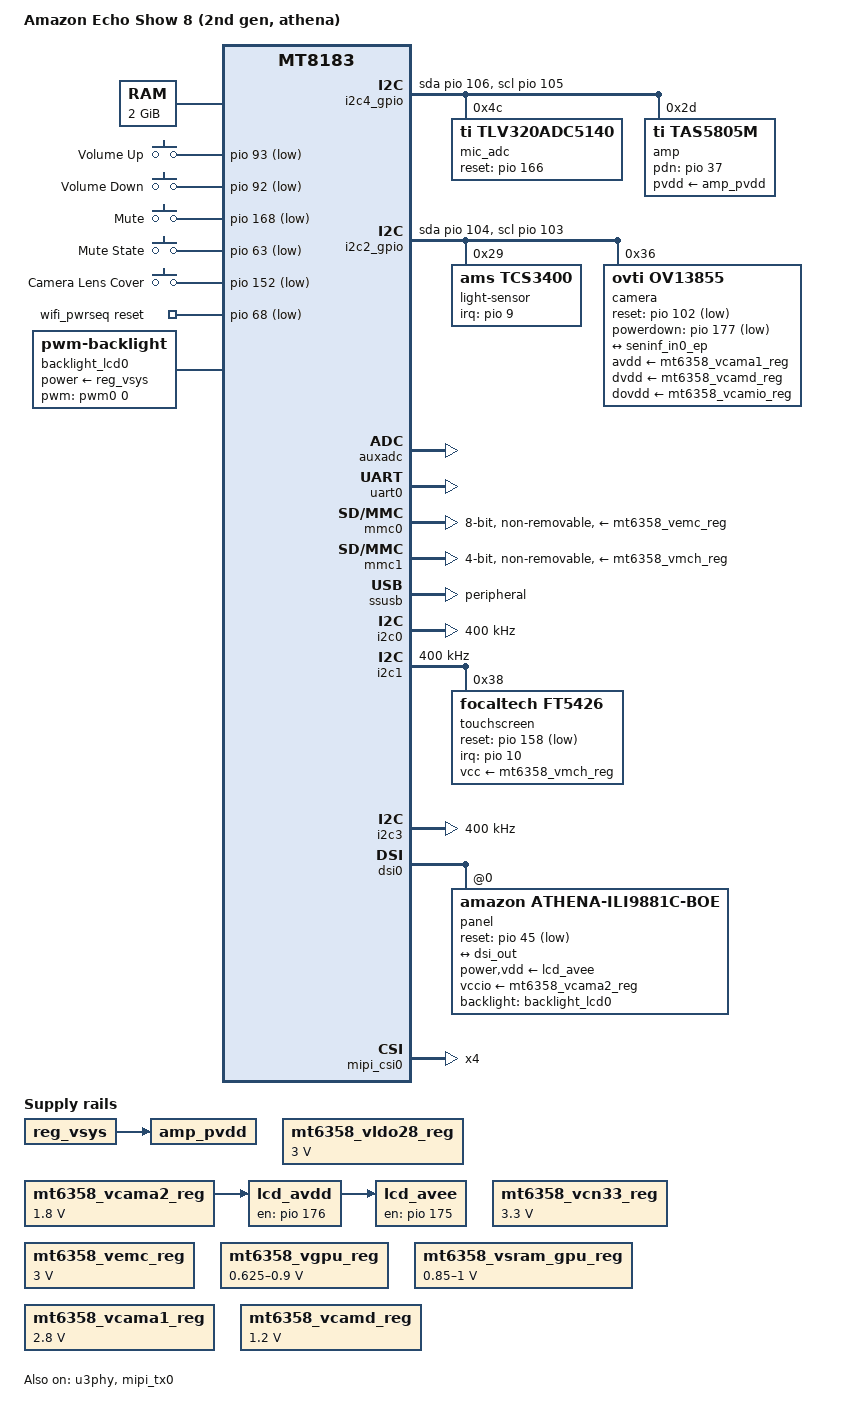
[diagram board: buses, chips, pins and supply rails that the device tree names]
// SPDX-License-Identifier: (GPL-2.0 OR MIT)
/*
 * Amazon Echo Show 8 (2nd gen), codename "athena": the TECHO5 mainline
 * board device tree.
 *
 * MediaTek MT8183, 2 GB LPDDR4, 8 GB eMMC, MT6358 PMIC.
 *
 * Built from the stock Amazon 4.4 device trees (athena-8 / the DTB that
 * TWRP booted with) translated to mainline bindings, then checked against
 * a read-only TWRP probe of a live unit (GPIO owners, I2C clients,
 * framebuffer, regulators, input devices, dmesg). "Confirmed" below means
 * seen on that unit under the stock kernel. Every value that is a guess,
 * or that was carried over from the stock DT without a mainline
 * equivalent, is marked "TODO". The stage notes record the order the
 * board was brought up in; all stages are enabled here.
 *
 * Stages (enable in order, one boot test per stage):
 *   0  boot:   CPUs, memory, reserved memory, UART, eMMC, PMIC regulators,
 *              gpio-keys, simple-framebuffer left on by LK
 *   1  SDIO:   MT7663 Wi-Fi/BT on mmc1
 *   2  USB:    SSUSB in peripheral mode for gadget serial / adb-like access
 *   3  I2C:    touch, light sensor, mic ADC, (amp)
 *   4  audio:  AFE + I2S pins (needs a machine driver; see notes)
 *   5  display: DSI panel, backlight, mute LED
 *
 * Display: mediatek-drm drives the panel (DSI0 + MIPI_TX0 + ILI9881C BOE);
 * needs patches/patch-display.py. Built by tools/linux/athena/kernel/build.sh
 * (see the README.md there).
 */

/dts-v1/;

#include <dt-bindings/gpio/gpio.h>
#include <dt-bindings/input/input.h>
#include <dt-bindings/interrupt-controller/irq.h>
#include <dt-bindings/leds/common.h>
#include <dt-bindings/phy/phy.h>
#include "mt8183.dtsi"
#include "mt6358.dtsi"

/ {
	model = "Amazon Echo Show 8 (2nd gen, athena)";
	/*
	 * TODO: "amzn,athena*" are Amazon's own strings from the stock DTB
	 * (not in the mainline vendor list). They are kept first in case
	 * Amazon's LK matches the DTB by compatible. Upstream would want
	 * "amazon,athena".
	 */
	compatible = "amzn,athena-pvt", "amzn,athena", "mediatek,mt8183";

	aliases {
		serial0 = &uart0;
		/* eMMC becomes mmcblk0 here (it is mmcblk1 on the stock kernel) */
		mmc0 = &mmc0;
		mmc1 = &mmc1;
		i2c0 = &i2c0;
		i2c1 = &i2c1;
		i2c2 = &i2c2;
		i2c3 = &i2c3;
		i2c4 = &i2c4_gpio;
	};

	chosen {
		#address-cells = <2>;
		#size-cells = <2>;
		ranges;

		/*
		 * UART0 (GPIO95 RX / GPIO96 TX) at 921600 like stock, the
		 * kernel console (pack.py's cmdline: console=ttyS0,921600).
		 * Its TX is a 1.8 V test point on the back of the board; the
		 * boot loaders print there too.
		 */
		stdout-path = "serial0:921600n8";

		/*
		 * LK writes its cmdline here and ASSERTs (app/mt_boot/bootargs.c:90,
		 * fdt_bootargs) if the property is missing. Seen over UART 2026-10-15.
		 */
		bootargs = "";

		/*
		 * Stage 0: framebuffer that LK leaves scanning out.
		 * NOTE (UART 2026-10-15): on the 64-bit path LK reports
		 * videolfb fb_base = 0xbe150000, not 0x53250000. Fix before using simplefb.
		 * From stock /chosen atag,videolfb: fb_base 0x53250000,
		 * islcmfound 1, vram 0xdb0000, LK panel name
		 * "ili9881c_wxga_dsi_vdo_st_boe" (video mode panel, so the
		 * panel keeps refreshing from memory after LK jumps).
		 * Also listed in stock reserved-memory as
		 * "mblock-4-framebuffer" (0x53250000, 0xdb0000).
		 *
		 * Confirmed (stock mtkfb): 800x1280, 32 bpp, stride 3200,
		 * virtual 800x2560 = 2 pages.
		 * TODO: pixel format. a8r8g8b8 is a guess; try a8b8g8r8 or
		 *       x8r8g8b8 if colors are swapped.
		 * TODO: LK may scan out the 2nd page. One page is
		 *       800*1280*4 = 0x3e8000, so the other candidate base is
		 *       0x53638000.
		 * Panel is 800x1280 portrait mounted landscape: use
		 * fbcon=rotate:1 (or 3) on the cmdline.
		 */
		framebuffer0: framebuffer@be150000 {
			compatible = "simple-framebuffer";
			/* 64-bit path: LK videolfb fb_base = 0xbe150000 (UART 2026-10-15) */
			reg = <0 0xbe150000 0 (800 * 1280 * 4)>;
			width = <800>;
			height = <1280>;
			stride = <(800 * 4)>;
			format = "a8r8g8b8";
			/*
			 * No clocks / power-domains / vio-supply here (UART 2026-10-15):
			 * with them, fw_devlink held simplefb back ~20 s. LK leaves the
			 * scanout path on and clk_ignore_unused, pd_ignore_unused and
			 * regulator_ignore_unused keep it on. The stock list was:
			 * spm DISP domain; mmsys SMI_COMMON, SMI_LARB0, GALS_COMM0/1,
			 * DISP_OVL0, DISP_OVL0_2L, DISP_RDMA0, DISP_COLOR0, DISP_CCORR0,
			 * DISP_AAL0, DISP_GAMMA0, DISP_DITHER0, DSI0_MM, DSI0_IF;
			 * topckgen MUX_DISP_PWM; infracfg DISP_PWM; vio = MT6358 vcama2.
			 * Put them back (or use mediatek-drm) before dropping the
			 * *_ignore_unused cmdline flags.
			 *
			 * Stage 5: kept as the early screen and as the fallback.
			 * mediatek-drm unregisters it when it binds (patch-display.py,
			 * "evict-simplefb"), so its fbdev emulation becomes /dev/fb0.
			 * If mediatek-drm never binds, this stays /dev/fb0 as before.
			 * The memory stays outside the kernel (cmdline mem=0x7e150000).
			 */
			status = "okay";
		};
	};

	/*
	 * LK rewrites this node at boot. Named "memory" (no unit address)
	 * exactly like the stock DT in case LK looks it up by path.
	 * TODO: confirm LK patches it (check /proc/device-tree/memory/reg).
	 */
	memory {
		device_type = "memory";
		reg = <0 0x40000000 0 0x80000000>;
	};

	reserved-memory {
		#address-cells = <2>;
		#size-cells = <2>;
		ranges;

		/*
		 * No atf-reserved@54600000, tee-reserved@bef00000 or
		 * sspm-reserved@bff40000 here: LK adds those itself, and duplicates
		 * make reserved_memory_conflict_check stop the boot (UART 2026-10-15).
		 */

		/*
		 * No framebuffer node: on the 64-bit path LK reserves its framebuffer
		 * (0xbe150000, 0xdb0000, mblock "framebuffer") itself, like atf/tee/sspm.
		 * TODO: confirm in /proc/device-tree/reserved-memory on the unit.
		 */

		/*
		 * TODO: guess. Stock has "mediatek,pstore" at 0x54410000
		 * (0xe0000) and ram_console at 0x54400000. Reusing the pstore
		 * window as ramoops gives a post-mortem log across a warm
		 * reboot (into TWRP: /sys/fs/pstore). Not known whether the
		 * preloader clears this DRAM on reset.
		 */
		ramoops@54410000 {
			compatible = "ramoops";
			reg = <0 0x54410000 0 0xe0000>;
			record-size = <0x10000>;
			console-size = <0x40000>;
			pmsg-size = <0x10000>;
			ecc-size = <0>;
		};

		/*
		 * Audio DMA pool. kukui lets it float; here it landed at 0xbb02f000 (right below
		 * LK's EMI-MPU-protected VPU region at 0xbb140000) and the AFE DMA never read it
		 * (AFE_DL1_CUR stayed 0, no period IRQs; 2026-10-15). Pinned here to plain RAM
		 * above LK's scratch area (ends 0x5f900000) to test the protection theory.
		 */
		afe_dma_mem: audio-dma-pool@60000000 {
			compatible = "shared-dma-pool";
			reg = <0 0x60000000 0 0x100000>;
			no-map;
		};
	};

	/*
	 * Board input rail. The Echo Show 8 runs from a DC adapter; the
	 * real rail voltage is not known (TODO), it only gives the PMIC
	 * a parent supply.
	 */
	reg_vsys: regulator-vsys {
		compatible = "regulator-fixed";
		regulator-name = "vsys";
		regulator-always-on;
		regulator-boot-on;
	};

	/*
	 * Stage 0: buttons. From stock gpio-keys + Amazon's gpio-privacy
	 * node (no mainline driver for gpio-privacy, so its inputs go here).
	 */
	gpio-keys {
		compatible = "gpio-keys";
		pinctrl-names = "default";
		pinctrl-0 = <&gpio_keys_pins>;

		button-volume-up {
			label = "Volume Up";
			gpios = <&pio 93 GPIO_ACTIVE_LOW>;
			linux,code = <KEY_VOLUMEUP>;
			debounce-interval = <50>;
			wakeup-source;
		};

		button-volume-down {
			label = "Volume Down";
			gpios = <&pio 92 GPIO_ACTIVE_LOW>;
			linux,code = <KEY_VOLUMEDOWN>;
			debounce-interval = <50>;
			wakeup-source;
		};

		/*
		 * Mic/camera mute button. Confirmed: GPIO168
		 * "privacy-button-gpio", reads high when idle. Stock reports
		 * it as KEY_POWER (input "gpio-privacy-button").
		 * KEY_MICMUTE is used here so logind/acpid do not power the
		 * unit off.
		 */
		button-mute {
			label = "Mute";
			gpios = <&pio 168 GPIO_ACTIVE_LOW>;
			linux,code = <KEY_MICMUTE>;
			debounce-interval = <50>;
			wakeup-source;
		};

		/*
		 * Hardware mute state. Confirmed: GPIO63
		 * "privacy-state-gpio", input with IRQ, SW_MUTE_DEVICE (14).
		 * Reads high while unmuted, which fits active-low.
		 * TODO: re-read it while muted to be sure.
		 */
		switch-mute-state {
			label = "Mute State";
			gpios = <&pio 63 GPIO_ACTIVE_LOW>;
			linux,input-type = <EV_SW>;
			linux,code = <SW_MUTE_DEVICE>;
			debounce-interval = <50>;
		};

		/*
		 * Camera shutter slider. Confirmed GPIO152, input. As described it reports 1
		 * only while the slider is closed (checked on a unit, 2026-10-19).
		 */
		switch-camera-lens-cover {
			label = "Camera Lens Cover";
			gpios = <&pio 152 GPIO_ACTIVE_LOW>;
			linux,input-type = <EV_SW>;
			linux,code = <SW_CAMERA_LENS_COVER>;
			debounce-interval = <50>;
		};
	};

	/*
	 * NOT described as a device: GPIO159 is gpio-privacy "enable-gpio"
	 * (confirmed: "privacy-enable-gpio", output, low at rest). Stock
	 * pulses it for 1000 ms to flip the hardware mic/camera mute latch
	 * (auto-toggle after 50 ms). Left unclaimed so userspace can
	 * drive it with libgpiod (gpioset gpiochip0 159=...).
	 * TODO: confirm the latch behavior before driving it.
	 */

	/* ---------------- Stage 1: SDIO Wi-Fi (MT7663S) ---------------- */

	/*
	 * Stock wifi-pwrseq: reset-gpios GPIO68 active low (pinctrl drives it
	 * low first). Confirmed: GPIO68 "reset" is output high while the
	 * MT7663 is running, i.e. the chip enable/reset, deasserted.
	 * GPIO160 is driven high in the stock SDIO pinctrl ("pins_pmu"),
	 * most likely the chip PMU_EN (not a claimed GPIO, so not listed).
	 * GPIO34 "eint" (output high, IRQ) is the stock msdc1 eint-gpios:
	 * SDIO DAT1 used as an out-of-band wake interrupt in suspend. Not
	 * needed for normal SDIO interrupts.
	 */
	wifi_pwrseq: wifi-pwrseq {
		compatible = "mmc-pwrseq-simple";
		pinctrl-names = "default";
		pinctrl-0 = <&wifi_pwrseq_pins>;
		reset-gpios = <&pio 68 GPIO_ACTIVE_LOW>;
		post-power-on-delay-ms = <10>;	/* TODO: tune */
	};

	/* ---------------- Stage 4: audio (placeholder) ---------------- */

	/*
	 * TAS5805M PVDD (12-24 V power stage). TODO: real rail unknown,
	 * dummy always-on fixed rail for now. The stock driver does enable
	 * two MT6358 LDOs at probe (confirmed in dmesg): vcn33_wifi 3.3 V
	 * and vrf18 1.8 V (named "vsim2" in the stock DT). One of them is
	 * probably the amp DVDD/IO rail; both are kept always-on below.
	 */
	amp_pvdd: regulator-amp-pvdd {
		compatible = "regulator-fixed";
		regulator-name = "amp_pvdd";
		regulator-always-on;
		regulator-boot-on;
		vin-supply = <&reg_vsys>;
	};

	/* ---------------- Stage 5: display ---------------- */

	/*
	 * Panel bias rails. Stock panel@0 (jd936x) / panel@1 (ili9881c):
	 *   lcm_power_p_gpio GPIO176, lcm_power_n_gpio GPIO175,
	 *   lcm_reset_gpio GPIO45, lcm-vio-supply = MT6358 vcama2 (1.8 V).
	 * Confirmed: GPIO176 "GPIO_LCD_PWR_P_EN", GPIO175
	 * "GPIO_LCD_PWR_N_EN", GPIO45 "GPIO_LCD_RST_EN". The bias is purely
	 * GPIO-enabled; no I2C bias/backlight chip on any bus.
	 * (All three read low in the probe because TWRP had blanked the
	 * screen: dmesg ends with lcm off.)
	 *
	 * Chained so the ILI9881C driver's single "power" supply (lcd_avee)
	 * brings them up in the stock order (lcm_resume_power):
	 *   vio vcama2 -> 10 ms -> P (GPIO176) -> 10 ms -> N (GPIO175) -> 10 ms
	 * and down in reverse (N, P, vio). regulator-boot-on: the GPIOs are
	 * requested high, so probing keeps LK's picture powered.
	 */
	lcd_avdd: regulator-lcd-avdd {
		compatible = "regulator-fixed";
		regulator-name = "lcd_avdd";
		gpio = <&pio 176 GPIO_ACTIVE_HIGH>;
		enable-active-high;
		regulator-boot-on;
		startup-delay-us = <10000>;
		vin-supply = <&mt6358_vcama2_reg>;
	};

	lcd_avee: regulator-lcd-avee {
		compatible = "regulator-fixed";
		regulator-name = "lcd_avee";
		gpio = <&pio 175 GPIO_ACTIVE_HIGH>;
		enable-active-high;
		regulator-boot-on;
		startup-delay-us = <10000>;
		vin-supply = <&lcd_avdd>;
	};

	/*
	 * Confirmed: backlight is the MT8183 display PWM (disp_pwm, "pwm id
	 * 0", 1024 levels, set to 1023 at boot) on GPIO43 = DISP_PWM. No I2C
	 * backlight chip. Stock exposes it as /sys/class/leds/lcd-backlight.
	 * TODO: PWM period (kukui uses 500 us). No backlight enable GPIO is
	 * claimed by the stock kernel.
	 * Stage 5: the panel links it (backlight = <&backlight_lcd0>), so DRM
	 * turns it off when the display is blanked and back on (at the level
	 * last written to sysfs) when it is enabled. Name and 0..1023 range
	 * are what the TECHO5 daemon uses.
	 */
	backlight_lcd0: backlight-lcd0 {
		compatible = "pwm-backlight";
		pwms = <&pwm0 0 500000>;
		power-supply = <&reg_vsys>;
		brightness-levels = <0 1023>;
		num-interpolated-steps = <1023>;
		default-brightness-level = <576>;
		status = "okay";
	};

	/*
	 * Mute LED (red bar). Stock DT: pwm@11006000 on GPIO153 = PWM_A,
	 * pwm_frequency 5250 Hz, "invert", alias mute_led_pwm.
	 * In the TWRP probe all four channels of 11006000 were idle with
	 * clocks off (unmuted, so the LED was off). Not proven either way.
	 * TODO: re-read /sys/kernel/debug/pwm while muted; PWM_A ->
	 * channel 0 of pwm1 is assumed.
	 */
	pwm-leds {
		compatible = "pwm-leds";
		status = "disabled";

		led-mute {
			color = <LED_COLOR_ID_RED>;
			function = LED_FUNCTION_MICMUTE;
			pwms = <&pwm1 0 190476>;
			active-low;
			max-brightness = <255>;
		};
	};
};

/* ======================= Stage 0: boot ======================= */

&gic {
	/* MediaTek TF-A does not save/restore GICR priorities (as kukui) */
	mediatek,broken-save-restore-fw;
};

/*
 * TODO: the mainline idle-state PSCI params (0x00010001, 0x01010001) match
 * stock mcdi-cpu / mcdi-cluster, but Amazon's TF-A is untested with them.
 * If the first boot hangs after "smp: Bringing up secondary CPUs", try
 * cpuidle.off=1.
 */

/*
 * CPU frequency scaling. Fire OS moves the CPU SRAM rails (vsram_proc11/12)
 * with the CPU rails in software, so the CPUs and the CCI get an sram-supply
 * and mediatek-cpufreq / mtk-cci-devfreq keep SRAM above the logic voltage
 * (measured on unit 2: 900 mV at the lowest speed, 1118.75 mV at 1.99 GHz with
 * vproc at 1.05 V, the same levels as Fire OS). The CCI shares vproc12 with
 * the little cores, so it tracks vsram_proc12 too (patch-cci-sram.py gives
 * its MT8183 data the limits).
 */

&cci {
	proc-supply = <&mt6358_vproc12_reg>;
	sram-supply = <&mt6358_vsram_proc12_reg>;
};

&cpu0 {
	proc-supply = <&mt6358_vproc12_reg>;
	sram-supply = <&mt6358_vsram_proc12_reg>;
};

&cpu1 {
	proc-supply = <&mt6358_vproc12_reg>;
	sram-supply = <&mt6358_vsram_proc12_reg>;
};

&cpu2 {
	proc-supply = <&mt6358_vproc12_reg>;
	sram-supply = <&mt6358_vsram_proc12_reg>;
};

&cpu3 {
	proc-supply = <&mt6358_vproc12_reg>;
	sram-supply = <&mt6358_vsram_proc12_reg>;
};

&cpu4 {
	proc-supply = <&mt6358_vproc11_reg>;
	sram-supply = <&mt6358_vsram_proc11_reg>;
};

&cpu5 {
	proc-supply = <&mt6358_vproc11_reg>;
	sram-supply = <&mt6358_vsram_proc11_reg>;
};

&cpu6 {
	proc-supply = <&mt6358_vproc11_reg>;
	sram-supply = <&mt6358_vsram_proc11_reg>;
};

&cpu7 {
	proc-supply = <&mt6358_vproc11_reg>;
	sram-supply = <&mt6358_vsram_proc11_reg>;
};

&pmic {
	/* stock pwrap/pmic_irq: GPIO182, level high (same as kukui) */
	interrupts-extended = <&pio 182 IRQ_TYPE_LEVEL_HIGH>;
};

&mt6358codec {
	Avdd-supply = <&mt6358_vaud28_reg>;
};

&mt6358regulator {
	vsys-ldo1-supply = <&reg_vsys>;
	vsys-ldo2-supply = <&reg_vsys>;
	vsys-ldo3-supply = <&reg_vsys>;
	vsys-vcore-supply = <&reg_vsys>;
	vsys-vdram1-supply = <&reg_vsys>;
	vsys-vgpu-supply = <&reg_vsys>;
	vsys-vmodem-supply = <&reg_vsys>;
	vsys-vpa-supply = <&reg_vsys>;
	vsys-vproc11-supply = <&reg_vsys>;
	vsys-vproc12-supply = <&reg_vsys>;
	vsys-vs1-supply = <&reg_vsys>;
	vsys-vs2-supply = <&reg_vsys>;
	vs1-ldo1-supply = <&mt6358_vs1_reg>;
	vs2-ldo1-supply = <&mt6358_vdram1_reg>;
	vs2-ldo2-supply = <&mt6358_vs2_reg>;
	vs2-ldo3-supply = <&mt6358_vs2_reg>;
	vs2-ldo4-supply = <&mt6358_vs2_reg>;
};

/* stock: vdram2 regulator-default-on */
&mt6358_vdram2_reg {
	regulator-always-on;
};

/*
 * Stock marks vldo28 (3.0 V) and vsim2 default-on. The TWRP regulator
 * summary shows no consumer for either. Kept on so nothing loses power
 * at regulator late cleanup.
 * TODO: the summary has no enabled column; check
 * /sys/class/regulator/regulator.N/state to see whether they are really
 * on, and drop always-on if not.
 */
&mt6358_vldo28_reg {
	regulator-min-microvolt = <3000000>;
	regulator-max-microvolt = <3000000>;
	regulator-always-on;
};

&mt6358_vsim2_reg {
	regulator-always-on;
};

/*
 * Panel I/O (lcm-vio). Stock lcm_vio_supply_enable sets exactly 1.8 V.
 * Not always-on: the panel chain (lcd_avdd vin-supply) holds it.
 */
&mt6358_vcama2_reg {
	regulator-min-microvolt = <1800000>;
	regulator-max-microvolt = <1800000>;
};

/* stock vcn18 regulator-always-on (connectivity 1.8 V) */
&mt6358_vcn18_reg {
	regulator-always-on;
};

/*
 * Confirmed users in the stock kernel: the TAS5805M driver enables
 * vcn33_wifi (3.3 V) and vrf18 (1.8 V) at probe. Mainline merges
 * vcn33_wifi/vcn33_bt into one "vcn33" regulator, which most likely
 * also feeds the MT7663. Kept on until the amp has proper supplies.
 */
&mt6358_vcn33_reg {
	regulator-min-microvolt = <3300000>;
	regulator-max-microvolt = <3300000>;
	regulator-always-on;
};

&mt6358_vrf18_reg {
	regulator-always-on;
};

/* Confirmed: eMMC (bootdevice) runs vemc at 3.0 V */
&mt6358_vemc_reg {
	regulator-min-microvolt = <3000000>;
	regulator-max-microvolt = <3000000>;
};

&mt6358_vgpu_reg {
	regulator-min-microvolt = <625000>;
	regulator-max-microvolt = <900000>;
	regulator-coupled-with = <&mt6358_vsram_gpu_reg>;
	regulator-coupled-max-spread = <100000>;
};

&mt6358_vsram_gpu_reg {
	regulator-min-microvolt = <850000>;
	regulator-max-microvolt = <1000000>;
	regulator-coupled-with = <&mt6358_vgpu_reg>;
	regulator-coupled-max-spread = <100000>;
};

&mfg_async {
	domain-supply = <&mt6358_vsram_gpu_reg>;
};

&mfg {
	domain-supply = <&mt6358_vgpu_reg>;
};

/* GPU (Mali-G72, panfrost) later; not needed to boot */
&gpu {
	mali-supply = <&mt6358_vgpu_reg>;
	status = "disabled";
};

&auxadc {
	status = "okay";
};

&uart0 {
	pinctrl-names = "default";
	pinctrl-0 = <&uart0_pins>;
	status = "okay";
};

/*
 * eMMC. Stock msdc0: 8-bit, 200 MHz, DDR/HS200/HS400 1.8 V, vmmc = vemc.
 * HS400 left out until a hs400-ds-delay is tuned (kukui uses 0x12814).
 */
&mmc0 {
	pinctrl-names = "default", "state_uhs";
	pinctrl-0 = <&mmc0_pins_default>;
	pinctrl-1 = <&mmc0_pins_uhs>;
	bus-width = <8>;
	max-frequency = <200000000>;
	cap-mmc-highspeed;
	mmc-ddr-1_8v;
	mmc-hs200-1_8v;
	/* TODO stage 0+: mmc-hs400-1_8v; hs400-ds-delay = <0x12814>; */
	cap-mmc-hw-reset;
	no-sdio;
	no-sd;
	non-removable;
	vmmc-supply = <&mt6358_vemc_reg>;
	vqmmc-supply = <&mt6358_vio18_reg>;
	assigned-clocks = <&topckgen CLK_TOP_MUX_MSDC50_0>;
	assigned-clock-parents = <&topckgen CLK_TOP_MSDCPLL_CK>;
	status = "okay";
};

/* SCP: Amazon firmware, not the ChromeOS one. Leave off. */
&scp {
	/* mt8183.dtsi points this at a board-defined pool; none here */
	/delete-property/ memory-region;
	status = "disabled";
};

/*
 * Display path: enabled in this stage 5 copy (see "Stage 5: display"
 * below). The rest of the MT8183 pipeline (mmsys, mutex, ovl0, ovl_2l0,
 * rdma0, color0, ccorr0, aal0, gamma0, dither0, larb0, smi_common, iommu,
 * gce) is enabled in mt8183.dtsi already, as on kukui.
 */

/* ======================= Stage 1: SDIO ======================= */

/*
 * MT7663 Wi-Fi (mt7663s) + BT (btmtksdio) on msdc1. Confirmed: the
 * stock kernel brings the card up as "ultra high speed SDR104 SDIO card"
 * at 200 MHz, vmch 3.3 V (vmmc) and vmc 1.8 V (vqmmc). Stock msdc1:
 * 4-bit, 200 MHz, SDR12..SDR104 + DDR50, vmmc = vmch, vqmmc = vmc,
 * keep-power-in-suspend, enable-sdio-wakeup, cap-sdio-irq.
 * Stock also lists cd-gpios = GPIO3 (unused: non-removable) and an
 * out-of-band eint on GPIO34 (= DAT1).
 */
&mmc1 {
	pinctrl-names = "default", "state_uhs";
	pinctrl-0 = <&mmc1_pins_default>;
	pinctrl-1 = <&mmc1_pins_uhs>;
	bus-width = <4>;
	max-frequency = <200000000>;
	cap-sd-highspeed;
	sd-uhs-sdr50;
	sd-uhs-sdr104;
	cap-sdio-irq;
	keep-power-in-suspend;
	wakeup-source;
	non-removable;
	no-mmc;
	no-sd;
	mmc-pwrseq = <&wifi_pwrseq>;
	vmmc-supply = <&mt6358_vmch_reg>;
	vqmmc-supply = <&mt6358_vmc_reg>;
	assigned-clocks = <&topckgen CLK_TOP_MUX_MSDC30_1>;
	assigned-clock-parents = <&topckgen CLK_TOP_MSDCPLL_D2>;	/* TODO: as kukui */
	status = "okay";
};

/* ======================= Stage 2: USB ======================= */

/*
 * Gadget mode first. Stock otg_iddig: IDDIG on GPIO41 (mode IDDIG),
 * DRVVBUS on GPIO150 (plain GPIO), VBUS detect on GPIO165 (active high,
 * "vbusd"). Stock also carries MT6370/RT5081 Type-C PD config that does
 * not appear to be wired on athena (TODO, see notes).
 * For OTG later: dr_mode = "otg", usb-role-switch, and a
 * "gpio-usb-b-connector" child with id-gpios = <&pio 41 ...> and
 * vbus-gpios = <&pio 165 ...>.
 */
&ssusb {
	dr_mode = "peripheral";
	maximum-speed = "high-speed";	/* TODO: is SuperSpeed wired at all? */
	/* No U3 port in use: without this mtu3 waits for U3 clocks ("clks of
	 * sts1 are not stable!", -110) and the gadget never binds (UART 2026-10-15) */
	mediatek,u3p-dis-msk = <1>;
	/* VBUS is sensed on GPIO165, not by the PHY: hold the session valid in the MAC and the U2 PHY
	 * (patches/patch-usb-force-vbus.py), which early test builds did with devmem */
	mediatek,force-vbus;
	vusb33-supply = <&mt6358_vusb_reg>;
	pinctrl-names = "default";
	pinctrl-0 = <&usb_pins>;
	status = "okay";
};

&usb_host {
	status = "disabled";
};

&u2port0 {
	mediatek,force-vbus;
};

&u3phy {
	status = "okay";
};

/* ======================= Stage 3: I2C ======================= */

/*
 * Bus numbers match mainline labels by base address:
 *   stock id0 0x11007000 = i2c0, id1 0x11011000 = i2c1,
 *   id2 0x11009000 = i2c2, id3 0x1100f000 = i2c3, id4 0x11008000 = i2c4.
 * Stock runs all of them at 400 kHz. Buses 5..11 have no devices in the
 * stock DT (the LCD bias/backlight IC may still sit on one: TODO).
 */

/*
 * i2c0: no clients in the stock kernel, and the probe found no bias or
 * backlight chip anywhere, so this bus is probably unused.
 * TODO: disable it once an i2cdetect confirms it is empty.
 */
&i2c0 {
	pinctrl-names = "default";
	pinctrl-0 = <&i2c0_pins>;
	clock-frequency = <400000>;
	status = "okay";
};

/* i2c1: touch + RT5514 */
&i2c1 {
	pinctrl-names = "default";
	pinctrl-0 = <&i2c1_pins>;
	clock-frequency = <400000>;
	status = "okay";

	/*
	 * Realtek RT5514 DSP mic codec. Stock irq GPIO4 (level high).
	 * TODO: stock has a spidev (rohm,dh2228fv) on spi5 (GPIO13..16);
	 * that is probably the RT5514 SPI data port ("realtek,rt5514"
	 * SPI driver).
	 */
	rt5514: audio-codec@57 {
		compatible = "realtek,rt5514";
		reg = <0x57>;
		interrupts-extended = <&pio 4 IRQ_TYPE_LEVEL_HIGH>;
		#sound-dai-cells = <0>;
		status = "disabled";	/* stage 4 */
	};

	/*
	 * FocalTech touch. Confirmed: chip ID 0x5422 (FT5422, FT5x46
	 * family), module id 0x3e, i2c-1 0x38, irq GPIO10, reset GPIO158
	 * (active low), vdd = vmch (2.9-3.3 V), 5 points. Stock reports
	 * x 0..1280, y 0..800. The chip runs its own firmware (stock looks
	 * for an optional update file, not needed).
	 * "focaltech,ft5426" takes the edt-ft5x06 FT5506-style path used
	 * for this family. TODO: confirm in a mainline boot; add
	 * touchscreen-swapped-x-y / -inverted-* if the axes are off.
	 */
	touchscreen@38 {
		compatible = "focaltech,ft5426";
		reg = <0x38>;
		pinctrl-names = "default";
		pinctrl-0 = <&touch_pins>;
		interrupts-extended = <&pio 10 IRQ_TYPE_EDGE_FALLING>;
		reset-gpios = <&pio 158 GPIO_ACTIVE_LOW>;
		vcc-supply = <&mt6358_vmch_reg>;
		touchscreen-size-x = <1280>;
		touchscreen-size-y = <800>;
	};

	/*
	 * Goodix alternative on other units (same irq/reset GPIOs).
	 * On this unit the stock gt9xx client binds at 0x5d but creates no
	 * input device, so it is not fitted. Keep disabled.
	 */
	touchscreen@5d {
		compatible = "goodix,gt911";	/* TODO: guess, stock "goodix,gt9xx" */
		reg = <0x5d>;
		interrupts-extended = <&pio 10 IRQ_TYPE_EDGE_FALLING>;
		irq-gpios = <&pio 10 GPIO_ACTIVE_HIGH>;
		reset-gpios = <&pio 158 GPIO_ACTIVE_HIGH>;
		AVDD28-supply = <&mt6358_vmch_reg>;
		touchscreen-size-x = <800>;
		touchscreen-size-y = <1280>;
		status = "disabled";
	};
};

/* i2c2: ambient light sensor (+ camera, ignored) */
&i2c2 {
	pinctrl-names = "default";
	pinctrl-0 = <&i2c2_pins>;
	clock-frequency = <400000>;
	/* SCP-shared like I2C4: disabled at the end of this file, i2c2_gpio runs the same pads */
	status = "okay";
};

/* i2c3: board temperature sensors, all disabled in stock */
&i2c3 {
	pinctrl-names = "default";
	pinctrl-0 = <&i2c3_pins>;
	clock-frequency = <400000>;
	status = "okay";

	temperature-sensor@71 {
		compatible = "ti,tmp103";
		reg = <0x71>;
		status = "disabled";	/* stock: disabled */
	};

	temperature-sensor@72 {
		compatible = "ti,tmp103";
		reg = <0x72>;
		status = "disabled";
	};

	temperature-sensor@73 {
		compatible = "ti,tmp103";
		reg = <0x73>;
		status = "disabled";
	};
};

/* i2c4: audio - mic ADC + speaker amp */
/*
 * I2C4 (i2c@11008000) is a dual-master bus shared with the SCP: stock has no
 * "mediatek,skip_scp_sema" on it (i2c1 has). Under mainline the AP never completes a
 * transfer on it (no IRQ, -ETIMEDOUT even with both chips held off; lines idle high,
 * 2026-10-15). So drive the same pads (GPIO105 SCL, GPIO106 SDA) as a
 * bit-banged bus; it keeps bus number 4 through the alias.
 */
&i2c4 {
	status = "disabled";
};

/ {
	i2c4_gpio: i2c-gpio-4 {
		compatible = "i2c-gpio";
		pinctrl-names = "default";
		pinctrl-0 = <&i2c4_gpio_pins>;
		sda-gpios = <&pio 106 (GPIO_ACTIVE_HIGH | GPIO_OPEN_DRAIN)>;
		scl-gpios = <&pio 105 (GPIO_ACTIVE_HIGH | GPIO_OPEN_DRAIN)>;
		i2c-gpio,delay-us = <2>;	/* ~100 kHz */
		#address-cells = <1>;
		#size-cells = <0>;

		/*
		 * TI TLV320ADC5140 4-ch mic ADC. Confirmed at i2c-4 0x4c, GPIO166
		 * "reset_adc" output high. Stock powers it through a
		 * fixed regulator "reset_adc" on GPIO166 (active high, 10 ms
		 * startup), i.e. GPIO166 is SHDNZ. The adcx140 driver drives
		 * "reset" 0 -> 1 to start, so it is described as active high.
		 * TODO: mic bias / PDM / ASI config.
		 */
		mic_adc: audio-codec@4c {
			compatible = "ti,tlv320adc5140";
			reg = <0x4c>;
			reset-gpios = <&pio 166 GPIO_ACTIVE_HIGH>;
			#sound-dai-cells = <0>;
		};

		/*
		 * TI TAS5805M class-D amp. Confirmed at i2c-4 0x2d (die rev 3),
		 * GPIO37 "TAS5805m PDN" output high (running), LPM mode on.
		 * Stock reset-gpio GPIO37 (flag 0),
		 * speaker-config 1, swap-channels. The mainline driver needs a PPC3
		 * register blob (the speaker tuning). It is not shipped: the slot
		 * below is empty in the published image and the installer fills
		 * it from the unit's own stock firmware
		 * (patches/patch-tas5805m-dsp-slot.py). With the slot empty and
		 * no tas5805m_dsp_athena.bin firmware file, the amp stays off and
		 * the rest of the sound card works.
		 * Some units have a TAS5825 instead (not in the athena stock DTs).
		 */
		amp: audio-amplifier@2d {
			compatible = "ti,tas5805m";
			reg = <0x2d>;
			pdn-gpios = <&pio 37 GPIO_ACTIVE_HIGH>;
			pvdd-supply = <&amp_pvdd>;
			/* fallback: request_firmware("tas5805m_dsp_athena.bin") */
			ti,dsp-config-name = "athena";
			/*
			 * TECHO5 DSP slot, exactly 8192 bytes: magic (8), data
			 * length N (le32), SHA-256 of the data (32), data, zeros.
			 * build.sh generates the empty slot file (N = 0).
			 */
			techo5,dsp-config = /incbin/("mt8183-amazon-athena-dsp-slot.bin");
			#sound-dai-cells = <0>;
			status = "okay";
		};
	};
};

/* ======================= Stage 4: audio ======================= */

&afe {
	memory-region = <&afe_dma_mem>;
};

/* athena machine driver (src/mt8183-athena.c): DL1 -> I2S1 -> amp, I2S2 -> UL1/UL2 */
/ {
	sound: sound {
		compatible = "amzn,athena-sound";
		mediatek,platform = <&afe>;
		mediatek,audio-codec = <&amp>, <&mic_adc>;
		pinctrl-names = "default";
		pinctrl-0 = <&aud_pins_default>;
	};
};

/*
 * (history) No sound card node yet. Mainline has no MT8183 machine driver for
 * TAS5805M + TLV320ADC5140; one has to be written (a small variant of
 * sound/soc/mediatek/mt8183/mt8183-mt6358-ts3a227-max98357.c) or the
 * AFE exposed through a generic card. Stock pin use (see aud_pins below):
 *   I2S1 out  (GPIO170 BCK, 171 LRCK, 172 DO, 173 MCK)   -> amp (guess)
 *   I2S3 DO   (GPIO3)                                     -> 2nd output
 *   I2S2 in   (GPIO98 BCK, 101 LRCK, 174 DI, 12 DI2)      -> mic ADC (guess)
 *   I2S0 in   (GPIO5 BCK, 6 LRCK, 7 DI)                   -> RT5514? (guess)
 *   PMIC link (GPIO136/138/139/142/143 AUD_*)             -> MT6358 codec
 * Stock sound node: i2s1 16-bit, i2s2 32-bit, both 96 kHz, MCLK 24.576 MHz.
 */

/* ======================= Stage 5: display ======================= */

/*
 * DSI panel. Stock: jd936x (cmdline jd936x_id=0x36) or ILI9881C,
 * 800x1280 video mode. On the probed unit the jd936x path logs
 * "no suitable vendor id for fitipower" (Fitipower owns the Jadard
 * JD936x line), only panel@1 (ili9881c) holds a 1.8 V vcama2 request,
 * and LK's videolfb names "ili9881c_wxga_dsi_vdo_st_boe": that unit has the
 * ILI9881C on BOE glass (jd936x_id 0x36, vendor nibble 6).
 * Init table, 800x1280 at 79.68 MHz (1000 x 1328 total, 60 Hz),
 * 4 lanes, burst video, 478 Mbps/lane: from Amazon's LCM driver, added to
 * panel-ilitek-ili9881c by patches/panel/0002 (patch-display.py).
 *
 * Other units: the compatible below is unit 1's. At boot
 * panel-athena-select.c (patch-display.py) sets it to the unit's own
 * screen, by LK's LCM name in atag,videolfb (or the jd936x_id nibble), from
 * the other variants' tables in patches/panel (amazon,athena-ili9881c-* and
 * amazon,athena-jd9365-*). Only the ILI9881C BOE has been tested on a unit.
 * The JD9365 ones bind panel-jadard-jd9365da-h3, which takes vccio-supply
 * and vdd-supply where the ILI9881C driver takes power-supply: the node
 * has all three, and each driver reads its own.
 *
 * mediatek-dsi finds the panel through the graph (dsi_out -> panel_in),
 * as on kukui. No pinctrl for GPIO45: kukui's panel pins drive it low,
 * which would reset the panel at probe and drop LK's picture early.
 */
&mipi_tx0 {
	status = "okay";
};

&dsi0 {
	#address-cells = <1>;
	#size-cells = <0>;
	status = "okay";

	panel: panel@0 {
		compatible = "amazon,athena-ili9881c-boe", "ilitek,ili9881c";
		reg = <0>;
		/* the bias chain above: vcama2 -> P (GPIO176) -> N (GPIO175) */
		power-supply = <&lcd_avee>;
		/* the same rails for the JD9365 driver: vio first, then the bias */
		vccio-supply = <&mt6358_vcama2_reg>;
		vdd-supply = <&lcd_avee>;
		/*
		 * GPIO45 LCM_RST: stock idles high and pulses low, so active
		 * low. Both drivers request it deasserted (high; the JD9365
		 * one by patch-display.py), which keeps LK's picture until
		 * the first modeset.
		 */
		reset-gpios = <&pio 45 GPIO_ACTIVE_LOW>;
		backlight = <&backlight_lcd0>;
		/*
		 * Portrait glass mounted landscape. Only reaches DRM's
		 * "panel orientation" property and fbcon's hint (the OVL cannot
		 * rotate 90/270): /dev/fb0 stays 800x1280 and the daemon turns
		 * its canvas itself. TODO: 90 or 270, check with modetest.
		 */
		rotation = <270>;

		port {
			panel_in: endpoint {
				remote-endpoint = <&dsi_out>;
			};
		};
	};
};

&dsi_out {
	remote-endpoint = <&panel_in>;
};

&pwm0 {
	pinctrl-names = "default";
	pinctrl-0 = <&disp_pwm_pins>;
};

&pwm1 {
	pinctrl-names = "default";
	pinctrl-0 = <&mute_led_pwm_pins>;
};

/* ======================= Pin control ======================= */

&pio {
	/* stage 0 */
	uart0_pins: uart0-pins {
		pins-rx {
			pinmux = <PINMUX_GPIO95__FUNC_URXD0>;
			input-enable;
			bias-pull-up;
		};

		pins-tx {
			pinmux = <PINMUX_GPIO96__FUNC_UTXD0>;
		};
	};

	/*
	 * Stock gpio-keys pinctrl pulls up GPIO91 and GPIO92, but the keys
	 * are GPIO93 (up) and GPIO92 (down). TODO: check whether GPIO93
	 * has an external pull-up; pulled up here to be safe.
	 * Stock gpio-privacy pinctrl: GPIO63 and GPIO168, bias-disable
	 * (stock sets mode 1 on both, which is just the vendor quirk;
	 * GPIO mode here).
	 */
	gpio_keys_pins: gpio-keys-pins {
		pins-volume {
			pinmux = <PINMUX_GPIO92__FUNC_GPIO92>,
				 <PINMUX_GPIO93__FUNC_GPIO93>;
			input-enable;
			/* PUPD/R1R0 pins: plain bias-pull-up = "Invalid pull argument"
			 * and gpio-keys never binds (seen 2026-10-15) */
			bias-pull-up = <MTK_PUPD_SET_R1R0_01>;
		};

		pins-mute {
			pinmux = <PINMUX_GPIO63__FUNC_GPIO63>,
				 <PINMUX_GPIO168__FUNC_GPIO168>;
			input-enable;
			bias-disable;
		};

		pins-lens-cover {
			pinmux = <PINMUX_GPIO152__FUNC_GPIO152>;
			input-enable;	/* TODO: bias unknown, stock sets none */
		};
	};

	mmc0_pins_default: mmc0-pins-default {
		pins-cmd-dat {
			pinmux = <PINMUX_GPIO123__FUNC_MSDC0_DAT0>,
				 <PINMUX_GPIO128__FUNC_MSDC0_DAT1>,
				 <PINMUX_GPIO125__FUNC_MSDC0_DAT2>,
				 <PINMUX_GPIO132__FUNC_MSDC0_DAT3>,
				 <PINMUX_GPIO126__FUNC_MSDC0_DAT4>,
				 <PINMUX_GPIO129__FUNC_MSDC0_DAT5>,
				 <PINMUX_GPIO127__FUNC_MSDC0_DAT6>,
				 <PINMUX_GPIO130__FUNC_MSDC0_DAT7>,
				 <PINMUX_GPIO122__FUNC_MSDC0_CMD>;
			input-enable;
			drive-strength = <MTK_DRIVE_14mA>;
			mediatek,pull-up-adv = <1>;
		};

		pins-clk {
			pinmux = <PINMUX_GPIO124__FUNC_MSDC0_CLK>;
			drive-strength = <MTK_DRIVE_14mA>;
			mediatek,pull-down-adv = <2>;
		};

		pins-rst {
			pinmux = <PINMUX_GPIO133__FUNC_MSDC0_RSTB>;
			drive-strength = <MTK_DRIVE_14mA>;
			mediatek,pull-down-adv = <1>;
		};
	};

	mmc0_pins_uhs: mmc0-pins-uhs {
		pins-cmd-dat {
			pinmux = <PINMUX_GPIO123__FUNC_MSDC0_DAT0>,
				 <PINMUX_GPIO128__FUNC_MSDC0_DAT1>,
				 <PINMUX_GPIO125__FUNC_MSDC0_DAT2>,
				 <PINMUX_GPIO132__FUNC_MSDC0_DAT3>,
				 <PINMUX_GPIO126__FUNC_MSDC0_DAT4>,
				 <PINMUX_GPIO129__FUNC_MSDC0_DAT5>,
				 <PINMUX_GPIO127__FUNC_MSDC0_DAT6>,
				 <PINMUX_GPIO130__FUNC_MSDC0_DAT7>,
				 <PINMUX_GPIO122__FUNC_MSDC0_CMD>;
			input-enable;
			drive-strength = <MTK_DRIVE_14mA>;
			mediatek,pull-up-adv = <1>;
		};

		pins-clk {
			pinmux = <PINMUX_GPIO124__FUNC_MSDC0_CLK>;
			drive-strength = <MTK_DRIVE_14mA>;
			mediatek,pull-down-adv = <2>;
		};

		pins-ds {
			pinmux = <PINMUX_GPIO131__FUNC_MSDC0_DSL>;
			drive-strength = <MTK_DRIVE_14mA>;
			mediatek,pull-down-adv = <2>;
		};

		pins-rst {
			pinmux = <PINMUX_GPIO133__FUNC_MSDC0_RSTB>;
			drive-strength = <MTK_DRIVE_14mA>;
			mediatek,pull-up-adv = <1>;
		};
	};

	/*
	 * stage 1: SDIO. Stock sdiodefault: CMD/DAT pull-up (0x65 = R1 adv),
	 * CLK pull-down (0x66), drive 2 in all modes; GPIO160 "pins_pmu"
	 * output high.
	 */
	mmc1_pins_default: mmc1-pins-default {
		pins-cmd-dat {
			pinmux = <PINMUX_GPIO31__FUNC_MSDC1_CMD>,
				 <PINMUX_GPIO32__FUNC_MSDC1_DAT0>,
				 <PINMUX_GPIO34__FUNC_MSDC1_DAT1>,
				 <PINMUX_GPIO33__FUNC_MSDC1_DAT2>,
				 <PINMUX_GPIO30__FUNC_MSDC1_DAT3>;
			input-enable;
			mediatek,pull-up-adv = <2>;
		};

		pins-clk {
			pinmux = <PINMUX_GPIO29__FUNC_MSDC1_CLK>;
			input-enable;
			mediatek,pull-down-adv = <2>;
		};

		pins-pmu {
			pinmux = <PINMUX_GPIO160__FUNC_GPIO160>;
			output-high;	/* TODO: confirm this is MT7663 PMU_EN */
		};
	};

	mmc1_pins_uhs: mmc1-pins-uhs {
		pins-cmd-dat {
			pinmux = <PINMUX_GPIO31__FUNC_MSDC1_CMD>,
				 <PINMUX_GPIO32__FUNC_MSDC1_DAT0>,
				 <PINMUX_GPIO34__FUNC_MSDC1_DAT1>,
				 <PINMUX_GPIO33__FUNC_MSDC1_DAT2>,
				 <PINMUX_GPIO30__FUNC_MSDC1_DAT3>;
			drive-strength = <6>;	/* TODO: stock "3" in the old encoding */
			input-enable;
			mediatek,pull-up-adv = <2>;
		};

		pins-clk {
			pinmux = <PINMUX_GPIO29__FUNC_MSDC1_CLK>;
			drive-strength = <8>;
			mediatek,pull-down-adv = <2>;
			input-enable;
		};
	};

	wifi_pwrseq_pins: wifi-pwrseq-pins {
		pins-wifi-enable {
			pinmux = <PINMUX_GPIO68__FUNC_GPIO68>;
			output-low;
		};
	};

	/* stage 2: USB ID pin (stock iddig_init: mode IDDIG, pull-up) */
	usb_pins: usb-pins {
		pins-iddig {
			pinmux = <PINMUX_GPIO41__FUNC_IDDIG>;
			input-enable;
			/* GPIO41 is a PUPD/R1R0 pin: plain bias-pull-up gives "Invalid pull
			 * argument" and mtu3 never binds (UART 2026-10-15) */
			bias-pull-up = <MTK_PUPD_SET_R1R0_01>;
		};

		pins-vbus-detect {
			pinmux = <PINMUX_GPIO165__FUNC_GPIO165>;
			input-enable;
			bias-disable;
		};
	};

	/* stage 3: I2C (standard MT8183 pads, as pumpkin/kukui) */
	i2c0_pins: i2c0-pins {
		pins-bus {
			pinmux = <PINMUX_GPIO82__FUNC_SDA0>,
				 <PINMUX_GPIO83__FUNC_SCL0>;
			mediatek,pull-up-adv = <3>;
		};
	};

	i2c1_pins: i2c1-pins {
		pins-bus {
			pinmux = <PINMUX_GPIO81__FUNC_SDA1>,
				 <PINMUX_GPIO84__FUNC_SCL1>;
			mediatek,pull-up-adv = <3>;
		};
	};

	i2c2_pins: i2c2-pins {
		pins-bus {
			pinmux = <PINMUX_GPIO103__FUNC_SCL2>,
				 <PINMUX_GPIO104__FUNC_SDA2>;
			mediatek,pull-up-adv = <3>;
		};
	};

	i2c3_pins: i2c3-pins {
		pins-bus {
			pinmux = <PINMUX_GPIO50__FUNC_SCL3>,
				 <PINMUX_GPIO51__FUNC_SDA3>;
			mediatek,pull-up-adv = <3>;
		};
	};

	i2c4_pins: i2c4-pins {
		pins-bus {
			pinmux = <PINMUX_GPIO105__FUNC_SCL4>,
				 <PINMUX_GPIO106__FUNC_SDA4>;
			mediatek,pull-up-adv = <3>;
		};
	};

	/* the same pads as GPIOs for the bit-banged I2C4 (internal pull-ups) */
	i2c4_gpio_pins: i2c4-gpio-pins {
		pins-bus {
			pinmux = <PINMUX_GPIO105__FUNC_GPIO105>,
				 <PINMUX_GPIO106__FUNC_GPIO106>;
			bias-pull-up;
		};
	};

	/* stock touch "default"/eint pinctrl: GPIO10 no bias */
	touch_pins: touch-pins {
		pins-irq {
			pinmux = <PINMUX_GPIO10__FUNC_GPIO10>;
			input-enable;
			bias-disable;
		};

		pins-reset {
			pinmux = <PINMUX_GPIO158__FUNC_GPIO158>;
			output-high;
		};
	};

	/* stage 4: audio, translated from stock audio_default + aud_*_on */
	aud_pins_default: audio-pins {
		pins-bus {
			pinmux = <PINMUX_GPIO3__FUNC_I2S3_DO>,
				 <PINMUX_GPIO5__FUNC_I2S0_BCK>,
				 <PINMUX_GPIO6__FUNC_I2S0_LRCK>,
				 <PINMUX_GPIO7__FUNC_I2S0_DI>,
				 <PINMUX_GPIO12__FUNC_I2S2_DI2>,
				 <PINMUX_GPIO98__FUNC_I2S2_BCK>,
				 <PINMUX_GPIO101__FUNC_I2S2_LRCK>,
				 <PINMUX_GPIO170__FUNC_I2S1_BCK>,
				 <PINMUX_GPIO171__FUNC_I2S1_LRCK>,
				 <PINMUX_GPIO172__FUNC_I2S1_DO>,
				 <PINMUX_GPIO173__FUNC_I2S1_MCK>,
				 <PINMUX_GPIO174__FUNC_I2S2_DI>,
				 <PINMUX_GPIO136__FUNC_AUD_CLK_MOSI>,
				 <PINMUX_GPIO138__FUNC_AUD_DAT_MOSI0>,
				 <PINMUX_GPIO139__FUNC_AUD_DAT_MOSI1>,
				 <PINMUX_GPIO142__FUNC_AUD_DAT_MISO0>,
				 <PINMUX_GPIO143__FUNC_AUD_DAT_MISO1>;
		};
	};

	/* stock aud_pins_hpamp_high/low: GPIO35 output (unused on athena?) */

	/* stage 5: backlight PWM (stock led@6 gpios = GPIO43, DISP_PWM) */
	disp_pwm_pins: disp-pwm-pins {
		pins-pwm {
			pinmux = <PINMUX_GPIO43__FUNC_DISP_PWM>;
		};
	};

	/* stock pwmdefault: GPIO153 mode 1 = PWM_A (mute LED) */
	mute_led_pwm_pins: mute-led-pwm-pins {
		pins-pwm {
			pinmux = <PINMUX_GPIO153__FUNC_PWM_A>;
		};
	};
};

/*
 * athena: TCS3400 ambient light sensor on a bit-banged I2C2.
 *
 * I2C2 (0x11009000) is shared with the SCP like I2C4 and times out on the
 * first access under mainline (2026-10-15), so the
 * same pads run i2c-gpio: GPIO103 = SCL2, GPIO104 = SDA2. Stock runs the
 * bus at 400 kHz; delay-us 2 gives about 100 kHz, as on i2c4_gpio.
 * The camera sensor (0x36) is added to this bus in the camera section below; its EEPROM
 * (0x54) is left out.
 *
 * Stock node: compatible "ams,tcs3400", reg 0x29, GPIO9 level low, no
 * supply property (the sensor's VDD is not switched by the stock kernel).
 * Stock's als_gain/als_time/persist properties are its own driver's; the
 * mainline driver has none, and echod sets gain and integration time.
 */

/ {
	aliases {
		i2c2 = &i2c2_gpio;
	};

	i2c2_gpio: i2c-gpio-2 {
		compatible = "i2c-gpio";
		pinctrl-names = "default";
		pinctrl-0 = <&i2c2_gpio_pins>;
		sda-gpios = <&pio 104 (GPIO_ACTIVE_HIGH | GPIO_OPEN_DRAIN)>;
		scl-gpios = <&pio 103 (GPIO_ACTIVE_HIGH | GPIO_OPEN_DRAIN)>;
		i2c-gpio,delay-us = <2>;	/* ~100 kHz */
		#address-cells = <1>;
		#size-cells = <0>;

		/*
		 * AMS TCS3400, ID 0x93 ("tcs34003/tcs34007 rev. 97" on stock).
		 * Driver: tcs3472 with patch-tcs3400.py. Its INT pin is open
		 * drain, active low. The driver asks for a falling edge (and
		 * only uses the interrupt for threshold events), so the DT
		 * says falling edge too; stock's own driver used level low.
		 */
		light-sensor@29 {
			compatible = "ams,tcs3400";
			reg = <0x29>;
			pinctrl-names = "default";
			pinctrl-0 = <&als_pins>;
			interrupts-extended = <&pio 9 IRQ_TYPE_EDGE_FALLING>;
		};
	};
};

&i2c2 {
	status = "disabled";	/* SCP-shared; see i2c2_gpio */
};

&pio {
	/* the same pads as GPIOs for the bit-banged I2C2 (internal pull-ups) */
	i2c2_gpio_pins: i2c2-gpio-pins {
		pins-bus {
			pinmux = <PINMUX_GPIO103__FUNC_GPIO103>,
				 <PINMUX_GPIO104__FUNC_GPIO104>;
			bias-pull-up;
		};
	};

	/*
	 * TCS3400 INT on GPIO9. Stock leaves the pin unclaimed; the pull-up
	 * is a precaution for the open-drain output (theory: the board may
	 * already have one).
	 */
	als_pins: als-pins {
		pins-irq {
			pinmux = <PINMUX_GPIO9__FUNC_GPIO9>;
			input-enable;
			bias-pull-up;
		};
	};
};

/* ======================= Camera ======================= */

/*
 * Front camera: OmniVision OV13855 (13 MP, 4-lane CSI-2) on I2C2 0x36, its OTP EEPROM at 0x54
 * (not described). The stock kernel builds only ov13855_mipi_raw. Read off the stock DT and
 * regulator summary: avdd vcama1 2.8 V, dvdd vcamd 1.2 V, dovdd vcamio 1.8 V, reset GPIO102,
 * powerdown GPIO177 (both low = held), MCLK GPIO99 CMMCLK0 (CAMTG).
 *
 * The receive path is CSI0 -> seninf -> CAMSV1 -> memory (patches/patch-camera.py): the ISP
 * proper needs the SCP firmware, which is off here. The lane mux is the one MediaTek's reference
 * boards use (as on kukui): CSI0A_L0 D2, A_L1 D0, A_L2 clock, B_L0 D1, B_L1 D3. Confirmed on a
 * unit: the sensor's color bars come through whole and in order (2026-10-19).
 */
&mt6358_vcama1_reg {
	regulator-min-microvolt = <2800000>;
	regulator-max-microvolt = <2800000>;
};

&mt6358_vcamd_reg {
	regulator-min-microvolt = <1200000>;
	regulator-max-microvolt = <1200000>;
};

&pio {
	camera_pins: camera-pins {
		pins-mclk {
			pinmux = <PINMUX_GPIO99__FUNC_CMMCLK0>;
		};

		pins-ctrl {
			pinmux = <PINMUX_GPIO102__FUNC_GPIO102>,
				 <PINMUX_GPIO177__FUNC_GPIO177>;
			output-low;
		};
	};
};

&i2c2_gpio {
	camera@36 {
		compatible = "ovti,ov13855";
		reg = <0x36>;
		pinctrl-names = "default";
		pinctrl-0 = <&camera_pins>;
		clocks = <&topckgen CLK_TOP_MUX_CAMTG>;
		assigned-clocks = <&topckgen CLK_TOP_MUX_CAMTG>;
		assigned-clock-parents = <&topckgen CLK_TOP_UNIVP_192M_D8>;	/* 24 MHz */
		reset-gpios = <&pio 102 GPIO_ACTIVE_LOW>;
		powerdown-gpios = <&pio 177 GPIO_ACTIVE_LOW>;
		avdd-supply = <&mt6358_vcama1_reg>;
		dvdd-supply = <&mt6358_vcamd_reg>;
		dovdd-supply = <&mt6358_vcamio_reg>;
		orientation = <0>;	/* front */

		port {
			ov13855_ep: endpoint {
				remote-endpoint = <&seninf_in0_ep>;
				clock-lanes = <0>;
				data-lanes = <1 2 3 4>;
				link-frequencies = /bits/ 64 <540000000 270000000>;
			};
		};
	};
};

&{/soc} {
	mipi_csi0: phy@11c80000 {
		compatible = "mediatek,mt8183-csi-rx";
		reg = <0 0x11c80000 0 0x2000>;
		num-lanes = <4>;
		#phy-cells = <1>;	/* C/D-PHY combo, D-PHY mode */
	};

	seninf: seninf@1a040000 {
		compatible = "mediatek,mt8183-seninf";
		reg = <0 0x1a040000 0 0x8000>;
		interrupts = <GIC_SPI 251 IRQ_TYPE_LEVEL_LOW>;
		clocks = <&camsys CLK_CAM_SENINF>, <&topckgen CLK_TOP_MUX_SENINF>;
		clock-names = "camsys", "top_mux";
		power-domains = <&spm MT8183_POWER_DOMAIN_CAM>;
		phys = <&mipi_csi0 PHY_TYPE_DPHY>;
		phy-names = "csi0";

		ports {
			#address-cells = <1>;
			#size-cells = <0>;

			port@0 {
				reg = <0>;
				seninf_in0_ep: endpoint {
					remote-endpoint = <&ov13855_ep>;
					clock-lanes = <2>;
					data-lanes = <1 3 0 4>;
				};
			};

			port@4 {
				reg = <4>;
				seninf_out0_ep: endpoint {
					remote-endpoint = <&camsv1_ep>;
				};
			};
		};
	};

	/* the first CAMSV (stock calls it camsv1, its clock gate is CAMSV0); three windows in its page */
	camsv1: camsv@1a050510 {
		compatible = "mediatek,mt8183-camsv";
		reg = <0 0x1a050510 0 0x40>,	/* top */
		      <0 0x1a050020 0 0x28>,	/* IMGO */
		      <0 0x1a050220 0 0x90>;	/* TG */
		interrupts = <GIC_SPI 258 IRQ_TYPE_LEVEL_LOW>;
		clocks = <&camsys CLK_CAM_CAM>, <&camsys CLK_CAM_CAMTG>, <&camsys CLK_CAM_CAMSV0>;
		clock-names = "cam", "camtg", "camsv";
		/* the CAMSV write port is one of these (one shared M4U domain) */
		iommus = <&iommu M4U_PORT_CAM_SOCO>, <&iommu M4U_PORT_CAM_SOC1>,
			 <&iommu M4U_PORT_CAM_SOC2>, <&iommu M4U_PORT_CAM_IMGO>;
		power-domains = <&spm MT8183_POWER_DOMAIN_CAM>;

		ports {
			#address-cells = <1>;
			#size-cells = <0>;

			port@0 {
				reg = <0>;
				camsv1_ep: endpoint {
					remote-endpoint = <&seninf_out0_ep>;
				};
			};
		};
	};
};
